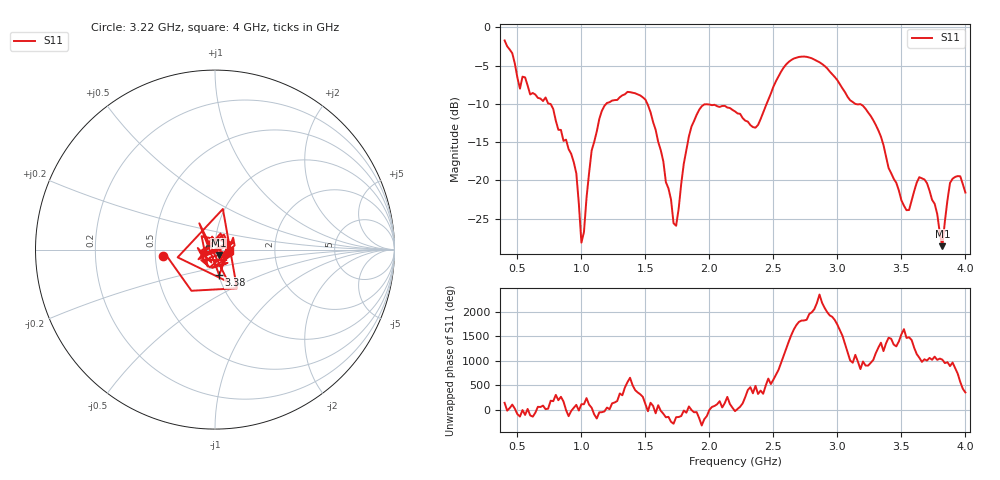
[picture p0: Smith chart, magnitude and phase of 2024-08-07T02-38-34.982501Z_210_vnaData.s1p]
!Created with skrf (http://scikit-rf.org).
# Hz S RI R 50.0
!freq ReS11 ImS11
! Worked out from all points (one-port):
!   181 points, 400 MHz to 4 GHz, reference 50 ohm
!   lowest |S11| = -28.6 dB at 3.82 GHz (marker M1), VSWR 1.08, Z = 52.1 - j3.15 ohm
!   |S11| at or under -10 dB: 758.8 MHz to 1.193 GHz (434.1 MHz wide, 44.5 % of centre); 1.516 GHz to 2.447 GHz (930.9 MHz wide, 47 % of centre); 3.141 GHz to end of sweep
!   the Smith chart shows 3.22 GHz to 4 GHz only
!   S11 on the Smith chart (normalised r, x): 3.22 GHz: 0.55, -0.04; 3.38 GHz: 1.01, -0.29; 4 GHz: 1.18, -0.01
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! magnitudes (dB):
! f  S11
! 400 MHz  -1.7
! 520 MHz  -8.0
! 720 MHz  -9.1
! 860 MHz  -14.8
! 960 MHz  -19.0
! 1 GHz  -28.1
! 1.08 GHz  -16.1
! 1.14 GHz  -11.9
! 1.3 GHz  -9.1
! 1.5 GHz  -9.4
! 1.64 GHz  -17.5
! 1.72 GHz  -25.6
! 1.76 GHz  -23.7
! 1.84 GHz  -14.2
! 1.92 GHz  -10.8
! 2.2 GHz  -11.0
! 2.36 GHz  -13.1
! 2.66 GHz  -4.1
! 2.88 GHz  -4.8
! 3.1 GHz  -9.5
! 3.22 GHz  -10.6
! 3.38 GHz  -16.9
! 3.56 GHz  -23.9
! 3.68 GHz  -19.9
! 3.76 GHz  -23.0
! 3.82 GHz  -28.6
! 3.88 GHz  -20.3
! 4 GHz  -21.6
